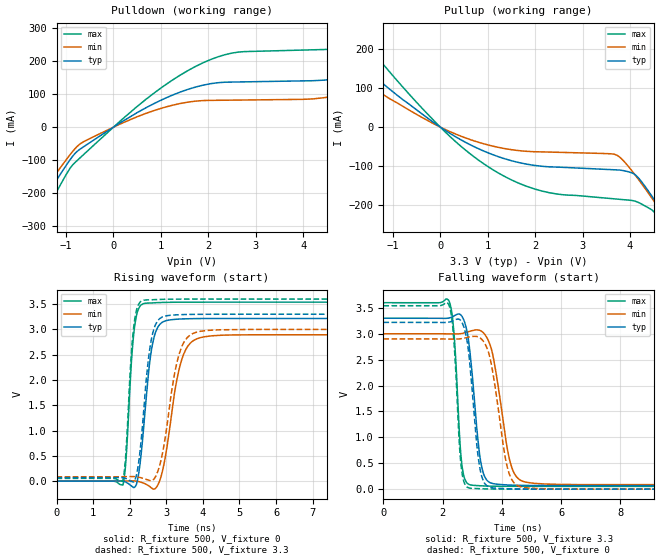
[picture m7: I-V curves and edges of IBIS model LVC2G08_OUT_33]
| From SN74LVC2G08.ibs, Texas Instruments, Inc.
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[Model]   LVC2G08_OUT_33
Model_type  Output
Vref =   0
Rref =   500
Cref =   50p
Vmeas =   1.5
| variable   typ   min   max
C_comp   8.66pF   6.32pF   12.60pF
| C_pullup   8.20pF   6.36pF   9.24pF
| C_pulldown   9.12pF   6.32pF   12.60pF
[Temperature Range]   40   100   -40
| Ambient temperature   25   85   -40
[Voltage range]   3.3   3   3.6
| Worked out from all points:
|   slope of the pulldown table from 0 to 0.495 V, typ, clamps not added: 11.3 ohm
|   slope of the pullup table from 0 to 0.495 V, typ, clamps not added: 13.5 ohm
|   rising waveform, R_fixture 500, V_fixture 0: 20-80 % time 262ps typ, 391ps min, 176ps max; typ from 0 V to 3.22 V
|   falling waveform, R_fixture 500, V_fixture 3.3: 20-80 % time 318ps typ, 470ps min, 203ps max; typ from 3.3 V to 0.069 V
|   rising waveform, R_fixture 500, V_fixture 3.3: 20-80 % time 256ps typ, 390ps min, 173ps max; typ from 0.069 V to 3.3 V
|   falling waveform, R_fixture 500, V_fixture 0: 20-80 % time 306ps typ, 451ps min, 201ps max; typ from 3.22 V to 0 V
[Pulldown]
| LVC2G08_OUT_33
|   Voltage   I(typ)   I(min)   I(max)
-5.5V     -1.112A    -993.8mA   -1.301A
-2.095V   -365.2mA   -321.2mA   -435.6mA
-1.48V    -224.6mA   -195.7mA   -271.3mA
-705mV    -67mA      -50.96mA   -93.4mA
1.895V    127.7mA    80.8mA     195.8mA
4.735V    148.3mA    96.37mA    238.3mA
6.005V    208mA      150.5mA    305.3mA
6.98V     278.7mA    201.6mA    397mA
7.35V     308.5mA    129.4mA    437.6mA
7.84V     330.1mA    92.52mA    494.8mA
8.75V     170.8mA    93.27mA    501.3mA
11V       160mA      96.49mA    277.5mA
[Pullup]
| LVC2G08_OUT_33
|   Voltage   I(typ)   I(min)   I(max)
-5.5V     622.4mA    491.4mA    870.3mA
-3.265V   341.5mA    264.8mA    484.1mA
-2.52V    253.8mA    195mA      362.3mA
-1.795V   172.9mA    131.3mA    248.7mA
-55mV     4.572mA    3.33mA     6.783mA
1.015V    -66.26mA   -45.93mA   -102mA
2.135V    -100.3mA   -63.39mA   -163.5mA
3.715V    -109.6mA   -71.54mA   -184.3mA
4.15V     -126.7mA   -129.5mA   -191.7mA
4.79V     -237.7mA   -240mA     -270mA
4.985V    -275.2mA   -275.3mA   -310.9mA
11V       -1.523A    -1.428A    -1.714A
[Ramp]
| LVC2G08_OUT_33
| variable   typ   min   max
dV/dt_r   2.01/2.75E-10   1.83/4.17E-10   2.17/1.81E-10
dV/dt_f   1.99/3.34E-10   1.79/4.90E-10   2.17/2.15E-10
R_load = 500
[Rising Waveform]
| LVC2G08_OUT_33
R_fixture =   500
C_fixture =   0
L_fixture =   0
V_fixture =   0
V_fixture_min = 0
V_fixture_max = 0
|   Time   V(typ)   V(min)   V(max)
0s        141.8pV    4.978nV    2.433nV
1.815ns   -1.221mV   731.9uV    -75.36mV
1.9ns     -22.34mV   1.823mV    436.7mV
2.12ns    -126.1mV   4.311mV    2.971V
2.39ns    1.132V     -43.56mV   3.512V
2.58ns    2.523V     -127mV     3.522V
2.78ns    3.058V     -62.7mV    3.53V
3.425ns   3.207V     2.408V     3.538V
4.045ns   3.215V     2.855V     3.539V
24.99ns   3.216V     2.894V     3.539V
[Falling Waveform]
| LVC2G08_OUT_33
R_fixture =   500
C_fixture =   0
L_fixture =   0
V_fixture =   3.3
V_fixture_min = 3
V_fixture_max = 3.6
|   Time   V(typ)   V(min)   V(max)
0s        3.3V       3V         3.6V
2.21ns    3.304V     2.998V     3.641V
2.39ns    3.347V     2.996V     2.961V
2.65ns    3.339V     3.006V     476.8mV
2.925ns   2.637V     3.049V     83.77mV
3.405ns   261.1mV    3.001V     62.11mV
3.705ns   107.2mV    2.561V     57.43mV
4.29ns    78.96mV    502.8mV    54.76mV
4.8ns     72.5mV     136.4mV    54.24mV
24.99ns   69.39mV    85.93mV    53.98mV
[Rising Waveform]
| LVC2G08_OUT_33
R_fixture =   500
C_fixture =   0
L_fixture =   0
V_fixture =   3.3
V_fixture_min = 3
V_fixture_max = 3.6
|   Time   V(typ)   V(min)   V(max)
0s        69.35mV    85.87mV    53.95mV
1.815ns   68.33mV    86.61mV    16.57mV
2.11ns    -17.59mV   90.43mV    3.05V
2.245ns   368mV      77.11mV    3.496V
2.385ns   1.409V     49.98mV    3.578V
2.545ns   2.596V     11.71mV    3.584V
2.725ns   3.122V     114.1mV    3.59V
3.36ns    3.291V     2.53V      3.599V
3.935ns   3.299V     2.963V     3.6V
24.99ns   3.3V       3V         3.6V
[Falling Waveform]
| LVC2G08_OUT_33
R_fixture =   500
C_fixture =   0
L_fixture =   0
V_fixture =   0
V_fixture_min = 0
V_fixture_max = 0
|   Time   V(typ)   V(min)   V(max)
0s        3.22V      2.9V       3.542V
2.205ns   3.224V     2.898V     3.568V
2.37ns    3.256V     2.897V     2.939V
2.63ns    3.242V     2.905V     425.8mV
2.915ns   2.437V     2.94V      19.38mV
3.175ns   744.3mV    2.945V     11.46mV
3.375ns   159.3mV    2.856V     6.892mV
4.195ns   7.949mV    400.3mV    817.8uV
4.68ns    2.624mV    39.05mV    302.5uV
24.99ns   35.85uV    44.97uV    26.81uV
